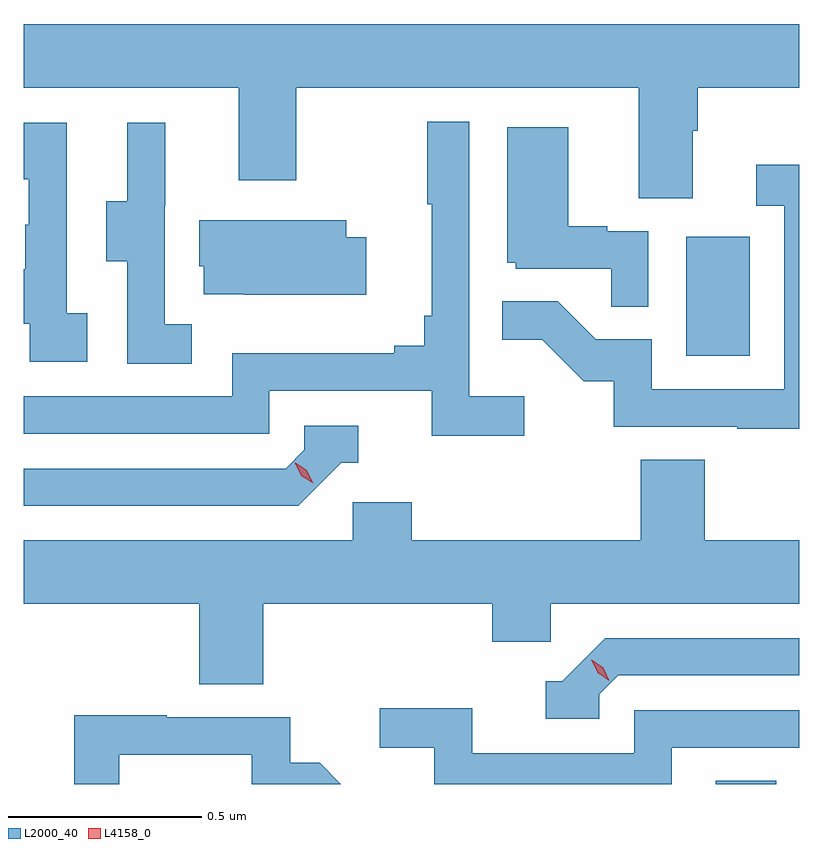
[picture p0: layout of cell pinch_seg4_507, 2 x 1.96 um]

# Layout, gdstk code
import gdstk
lib = gdstk.Library(unit=1e-6, precision=1e-09)
def R(c, l, rs):  # rectangles x0, y0, x1, y1
    for r in rs: c.add(gdstk.rectangle(r[:2], r[2:], *l))
def P(c, l, *ps):  # polygons
    for p in ps: c.add(gdstk.Polygon(p, *l))
L2000_40 = (2000, 40)
L4158_0 = (4158, 0)

pinch_seg4_507 = lib.new_cell('pinch_seg4_507')
R(pinch_seg4_507, L2000_40, [(986.172,756.395,986.328,756.404), (986.096,757.5,986.26,757.807)])
P(pinch_seg4_507, L2000_40, [(986.113,758.08),(986.126,758.08),(986.126,758.192),(986.387,758.192),(986.387,758.356),(984.387,758.356),(984.387,758.192),(984.941,758.192),(984.941,757.953),(985.089,757.953),(985.089,758.192),(985.973,758.192),(985.973,757.906),(986.113,757.906)],
  [(985.678,757.396),(985.536,757.396),(985.536,758.104),(985.428,758.104),(985.428,757.891),(985.439,757.891),(985.439,757.603),(985.42,757.603),(985.42,757.526),(985.343,757.526),(985.343,757.507),(984.924,757.507),(984.924,757.395),(984.387,757.395),(984.387,757.299),(985.02,757.299),(985.02,757.41),(985.439,757.41),(985.439,757.294),(985.678,757.294)],
  [(984.82,757.581),(984.75,757.581),(984.75,757.887),(984.752,757.887),(984.752,758.101),(984.653,758.101),(984.653,757.899),(984.599,757.899),(984.599,757.744),(984.654,757.744),(984.654,757.48),(984.82,757.48)],
  [(984.55,757.61),(984.498,757.61),(984.498,758.101),(984.387,758.101),(984.387,757.956),(984.4,757.956),(984.4,757.838),(984.39,757.838),(984.39,757.723),(984.387,757.723),(984.387,757.583),(984.402,757.583),(984.402,757.485),(984.55,757.485)],
  [(985.998,757.821),(985.892,757.821),(985.892,757.834),(985.792,757.834),(985.792,758.089),(985.634,758.089),(985.634,757.74),(985.656,757.74),(985.656,757.725),(985.903,757.725),(985.903,757.627),(985.998,757.627)],
  [(986.387,757.993),(986.277,757.993),(986.277,757.887),(986.349,757.887),(986.349,757.413),(986.007,757.413),(986.007,757.542),(985.863,757.542),(985.765,757.64),(985.621,757.64),(985.621,757.541),(985.725,757.541),(985.832,757.434),(985.909,757.434),(985.909,757.317),(986.227,757.317),(986.227,757.312),(986.387,757.312)],
  [(985.27,757.806),(985.219,757.806),(985.219,757.849),(984.839,757.849),(984.839,757.731),(984.851,757.731),(984.851,757.659),(984.955,757.659),(984.955,757.658),(985.27,757.658)],
  [(985.206,757.224),(985.249,757.224),(985.249,757.32),(985.11,757.32),(985.11,757.257),(985.062,757.209),(984.387,757.209),(984.387,757.113),(985.095,757.113)],
  [(985.004,756.86),(985.595,756.86),(985.595,756.762),(985.746,756.762),(985.746,756.86),(986.387,756.86),(986.387,757.024),(986.144,757.024),(986.144,757.232),(985.979,757.232),(985.979,757.024),(985.388,757.024),(985.388,757.122),(985.236,757.122),(985.236,757.024),(984.387,757.024),(984.387,756.86),(984.839,756.86),(984.839,756.652),(985.004,756.652)],
  [(985.872,756.627),(985.92,756.675),(986.387,756.675),(986.387,756.771),(985.887,756.771),(985.776,756.66),(985.733,756.66),(985.733,756.564),(985.872,756.564)],
  [(986.058,756.489),(986.387,756.489),(986.387,756.585),(985.962,756.585),(985.962,756.474),(985.544,756.474),(985.544,756.59),(985.305,756.59),(985.305,756.488),(985.446,756.488),(985.446,756.395),(986.058,756.395)],
  [(984.633,756.471),(984.975,756.471),(984.975,756.395),(985.205,756.395),(985.15,756.45),(985.074,756.45),(985.074,756.567),(984.755,756.567),(984.755,756.572),(984.517,756.572),(984.517,756.395),(984.633,756.395)])
P(pinch_seg4_507, L4158_0, [(985.133,757.171),(985.102,757.191),(985.086,757.224),(985.086,757.224),(985.087,757.224),(985.117,757.204),(985.133,757.171),(985.133,757.171)],
  [(985.897,756.662),(985.867,756.682),(985.851,756.715),(985.851,756.715),(985.852,756.715),(985.882,756.695),(985.897,756.662),(985.897,756.662)])

lib.write_gds('pinch_seg4_507.gds')
